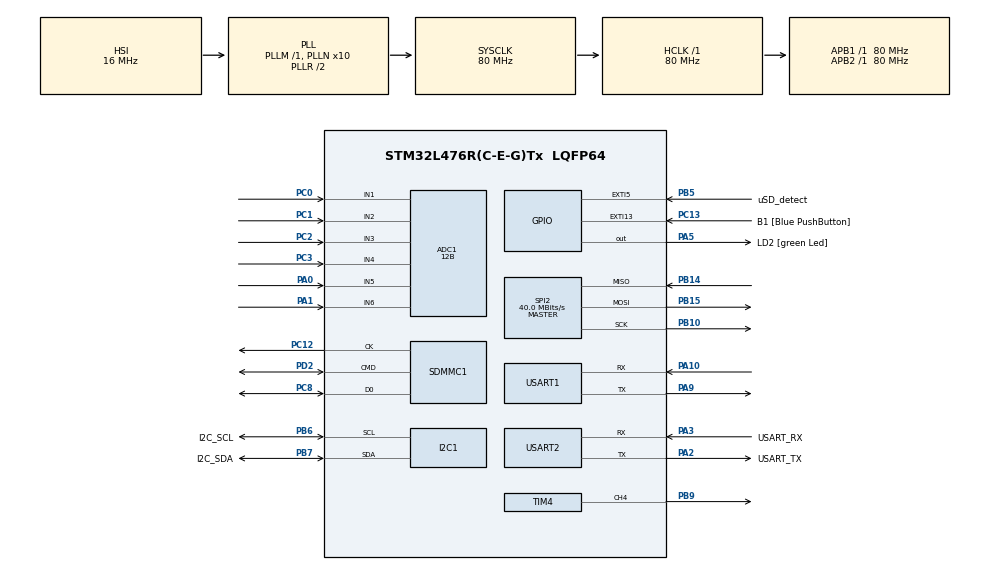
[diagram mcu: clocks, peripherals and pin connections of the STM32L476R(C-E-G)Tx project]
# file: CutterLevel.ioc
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ADC1.Channel-0\#ChannelRegularConversion=ADC_CHANNEL_VREFINT
ADC1.Channel-1\#ChannelRegularConversion=ADC_CHANNEL_1
ADC1.Channel-2\#ChannelRegularConversion=ADC_CHANNEL_2
ADC1.Channel-3\#ChannelRegularConversion=ADC_CHANNEL_3
ADC1.Channel-4\#ChannelRegularConversion=ADC_CHANNEL_4
ADC1.Channel-5\#ChannelRegularConversion=ADC_CHANNEL_5
ADC1.Channel-6\#ChannelRegularConversion=ADC_CHANNEL_6
ADC1.ClockPrescaler=ADC_CLOCK_ASYNC_DIV1
ADC1.ContinuousConvMode=DISABLE
ADC1.DMAContinuousRequests=ENABLE
ADC1.DataAlign=ADC_DATAALIGN_RIGHT
ADC1.DiscontinuousConvMode=DISABLE
ADC1.EOCSelection=ADC_EOC_SINGLE_CONV
ADC1.EnableAnalogWatchDog1=false
ADC1.EnableAnalogWatchDog2=false
ADC1.EnableAnalogWatchDog3=false
ADC1.EnableInjectedConversion=DISABLE
ADC1.EnableRegularConversion=ENABLE
ADC1.ExternalTrigConv=ADC_EXTERNALTRIG_T4_CC4
ADC1.ExternalTrigConvEdge=ADC_EXTERNALTRIGCONVEDGE_RISING
ADC1.LowPowerAutoWait=DISABLE
ADC1.NbrOfConversion=7
ADC1.NbrOfConversionFlag=1
ADC1.OffsetNumber-0\#ChannelRegularConversion=ADC_OFFSET_NONE
ADC1.OffsetNumber-1\#ChannelRegularConversion=ADC_OFFSET_NONE
ADC1.OffsetNumber-2\#ChannelRegularConversion=ADC_OFFSET_NONE
ADC1.OffsetNumber-3\#ChannelRegularConversion=ADC_OFFSET_NONE
ADC1.OffsetNumber-4\#ChannelRegularConversion=ADC_OFFSET_NONE
ADC1.OffsetNumber-5\#ChannelRegularConversion=ADC_OFFSET_NONE
ADC1.OffsetNumber-6\#ChannelRegularConversion=ADC_OFFSET_NONE
ADC1.Overrun=ADC_OVR_DATA_OVERWRITTEN
ADC1.OversamplingMode=ENABLE
ADC1.OversamplingStopReset=ADC_REGOVERSAMPLING_CONTINUED_MODE
ADC1.Rank-0\#ChannelRegularConversion=1
ADC1.Rank-1\#ChannelRegularConversion=2
ADC1.Rank-2\#ChannelRegularConversion=3
ADC1.Rank-3\#ChannelRegularConversion=4
ADC1.Rank-4\#ChannelRegularConversion=5
ADC1.Rank-5\#ChannelRegularConversion=6
ADC1.Rank-6\#ChannelRegularConversion=7
ADC1.Ratio=ADC_OVERSAMPLING_RATIO_8
ADC1.Resolution=ADC_RESOLUTION_12B
ADC1.RightBitShift=ADC_RIGHTBITSHIFT_3
ADC1.SamplingTime-0\#ChannelRegularConversion=ADC_SAMPLETIME_92CYCLES_5
ADC1.SamplingTime-1\#ChannelRegularConversion=ADC_SAMPLETIME_24CYCLES_5
ADC1.SamplingTime-2\#ChannelRegularConversion=ADC_SAMPLETIME_24CYCLES_5
ADC1.SamplingTime-3\#ChannelRegularConversion=ADC_SAMPLETIME_24CYCLES_5
ADC1.SamplingTime-4\#ChannelRegularConversion=ADC_SAMPLETIME_24CYCLES_5
ADC1.SamplingTime-5\#ChannelRegularConversion=ADC_SAMPLETIME_24CYCLES_5
ADC1.SamplingTime-6\#ChannelRegularConversion=ADC_SAMPLETIME_24CYCLES_5
ADC1.ScanConvMode=ADC_SCAN_ENABLE
ADC1.TriggeredMode=ADC_TRIGGEREDMODE_SINGLE_TRIGGER
ADC1.master=1
Dma.ADC1.4.Direction=DMA_PERIPH_TO_MEMORY
Dma.ADC1.4.Instance=DMA1_Channel1
Dma.ADC1.4.MemDataAlignment=DMA_MDATAALIGN_HALFWORD
Dma.ADC1.4.MemInc=DMA_MINC_ENABLE
Dma.ADC1.4.Mode=DMA_CIRCULAR
Dma.ADC1.4.PeriphDataAlignment=DMA_PDATAALIGN_HALFWORD
Dma.ADC1.4.PeriphInc=DMA_PINC_DISABLE
Dma.ADC1.4.Priority=DMA_PRIORITY_LOW
Dma.Request0=USART1_RX
Dma.Request1=USART1_TX
Dma.Request2=USART2_RX
Dma.Request3=USART2_TX
Dma.Request4=ADC1
Dma.USART1_RX.0.Direction=DMA_PERIPH_TO_MEMORY
Dma.USART1_RX.0.Instance=DMA2_Channel7
Dma.USART1_RX.0.MemDataAlignment=DMA_MDATAALIGN_BYTE
Dma.USART1_RX.0.MemInc=DMA_MINC_ENABLE
Dma.USART1_RX.0.Mode=DMA_NORMAL
Dma.USART1_RX.0.PeriphDataAlignment=DMA_PDATAALIGN_BYTE
Dma.USART1_RX.0.PeriphInc=DMA_PINC_DISABLE
Dma.USART1_RX.0.Priority=DMA_PRIORITY_LOW
Dma.USART1_TX.1.Direction=DMA_MEMORY_TO_PERIPH
Dma.USART1_TX.1.Instance=DMA1_Channel4
Dma.USART1_TX.1.MemDataAlignment=DMA_MDATAALIGN_BYTE
Dma.USART1_TX.1.MemInc=DMA_MINC_ENABLE
Dma.USART1_TX.1.Mode=DMA_NORMAL
Dma.USART1_TX.1.PeriphDataAlignment=DMA_PDATAALIGN_BYTE
Dma.USART1_TX.1.PeriphInc=DMA_PINC_DISABLE
Dma.USART1_TX.1.Priority=DMA_PRIORITY_LOW
Dma.USART2_RX.2.Direction=DMA_PERIPH_TO_MEMORY
Dma.USART2_RX.2.Instance=DMA1_Channel6
Dma.USART2_RX.2.MemDataAlignment=DMA_MDATAALIGN_BYTE
Dma.USART2_RX.2.MemInc=DMA_MINC_ENABLE
Dma.USART2_RX.2.Mode=DMA_NORMAL
Dma.USART2_RX.2.PeriphDataAlignment=DMA_PDATAALIGN_BYTE
Dma.USART2_RX.2.PeriphInc=DMA_PINC_DISABLE
Dma.USART2_RX.2.Priority=DMA_PRIORITY_LOW
Dma.USART2_TX.3.Direction=DMA_MEMORY_TO_PERIPH
Dma.USART2_TX.3.Instance=DMA1_Channel7
Dma.USART2_TX.3.MemDataAlignment=DMA_MDATAALIGN_BYTE
Dma.USART2_TX.3.MemInc=DMA_MINC_ENABLE
Dma.USART2_TX.3.Mode=DMA_NORMAL
Dma.USART2_TX.3.PeriphDataAlignment=DMA_PDATAALIGN_BYTE
Dma.USART2_TX.3.PeriphInc=DMA_PINC_DISABLE
Dma.USART2_TX.3.Priority=DMA_PRIORITY_LOW
FATFS.USE_DMA_CODE_SD=0
I2C1.Timing=0x10909CEC
Mcu.Family=STM32L4
Mcu.Name=STM32L476R(C-E-G)Tx
Mcu.Package=LQFP64
NVIC.ADC1_2_IRQn=true\:0\:0\:false\:false\:true\:true
NVIC.DMA1_Channel1_IRQn=true\:0\:0\:false\:false\:true\:false
NVIC.DMA1_Channel4_IRQn=true\:0\:0\:false\:false\:true\:false
NVIC.DMA1_Channel6_IRQn=true\:0\:0\:false\:false\:true\:false
NVIC.DMA1_Channel7_IRQn=true\:0\:0\:false\:false\:true\:false
NVIC.DMA2_Channel7_IRQn=true\:0\:0\:false\:false\:true\:false
NVIC.EXTI15_10_IRQn=true\:0\:0\:false\:false\:true\:true
NVIC.I2C1_EV_IRQn=true\:0\:0\:false\:false\:true\:true
NVIC.PriorityGroup=NVIC_PRIORITYGROUP_4
NVIC.SPI2_IRQn=true\:0\:0\:false\:false\:true\:true
NVIC.TIM3_IRQn=true\:0\:0\:false\:false\:true\:true
NVIC.TIM4_IRQn=true\:0\:0\:false\:false\:true\:true
NVIC.TIM5_IRQn=true\:0\:0\:false\:false\:true\:true
NVIC.USART1_IRQn=true\:0\:0\:false\:false\:true\:true
NVIC.USART2_IRQn=true\:0\:0\:false\:false\:true\:true
PA0.Signal=ADCx_IN5
PA1.Signal=ADCx_IN6
PA10.Mode=Asynchronous
PA10.Signal=USART1_RX
PA13\ (JTMS-SWDIO).GPIO_Label=TMS
PA13\ (JTMS-SWDIO).Signal=SYS_JTMS-SWDIO
PA14\ (JTCK-SWCLK).GPIO_Label=TCK
PA14\ (JTCK-SWCLK).Signal=SYS_JTCK-SWCLK
PA2.GPIO_Label=USART_TX
PA2.GPIO_Mode=GPIO_MODE_AF_PP
PA2.GPIO_PuPd=GPIO_NOPULL
PA2.GPIO_Speed=GPIO_SPEED_FREQ_VERY_HIGH
PA2.Mode=Asynchronous
PA2.Signal=USART2_TX
PA3.GPIO_Label=USART_RX
PA3.GPIO_Mode=GPIO_MODE_AF_PP
PA3.GPIO_PuPd=GPIO_NOPULL
PA3.GPIO_Speed=GPIO_SPEED_FREQ_VERY_HIGH
PA3.Mode=Asynchronous
PA3.Signal=USART2_RX
PA5.GPIO_Label=LD2 [green Led]
PA5.GPIO_ModeDefaultOutputPP=GPIO_MODE_OUTPUT_PP
PA5.GPIO_PuPd=GPIO_NOPULL
PA5.GPIO_Speed=GPIO_SPEED_FREQ_LOW
PA5.Signal=GPIO_Output
PA9.Mode=Asynchronous
PA9.Signal=USART1_TX
PB10.Mode=Full_Duplex_Master
PB10.Signal=SPI2_SCK
PB14.Mode=Full_Duplex_Master
PB14.Signal=SPI2_MISO
PB15.Mode=Full_Duplex_Master
PB15.Signal=SPI2_MOSI
PB3\ (JTDO-TRACESWO).GPIO_Label=SWO
PB3\ (JTDO-TRACESWO).Signal=SYS_JTDO-SWO
PB5.GPIO_Label=uSD_detect
PB5.GPIO_ModeDefaultEXTI=GPIO_MODE_IT_RISING_FALLING
PB5.GPIO_PuPd=GPIO_PULLUP
PB5.Signal=GPXTI5
PB6.GPIO_Label=I2C_SCL
PB6.Mode=I2C
PB6.Signal=I2C1_SCL
PB7.GPIO_Label=I2C_SDA
PB7.Mode=I2C
PB7.Signal=I2C1_SDA
PB9.Signal=S_TIM4_CH4
PC0.Signal=ADCx_IN1
PC1.Signal=ADCx_IN2
PC12.Mode=SD_1_bit
PC12.Signal=SDMMC1_CK
PC13.GPIO_Label=B1 [Blue PushButton]
PC13.GPIO_ModeDefaultEXTI=GPIO_MODE_IT_FALLING
PC13.GPIO_PuPd=GPIO_NOPULL
PC13.Signal=GPXTI13
PC14-OSC32_IN\ (PC14).Signal=RCC_OSC32_IN
PC15-OSC32_OUT\ (PC15).Signal=RCC_OSC32_OUT
PC2.Signal=ADCx_IN3
PC3.Signal=ADCx_IN4
PC8.GPIO_PuPd=GPIO_PULLUP
PC8.Mode=SD_1_bit
PC8.Signal=SDMMC1_D0
PD2.GPIO_PuPd=GPIO_PULLUP
PD2.Mode=SD_1_bit
PD2.Signal=SDMMC1_CMD
PH0-OSC_IN\ (PH0).Signal=RCC_OSC_IN
PH1-OSC_OUT\ (PH1).Signal=RCC_OSC_OUT
ProjectManager.HeapSize=0x200
ProjectManager.StackSize=0x400
ProjectManager.TargetToolchain=SW4STM32
RCC.ADCFreq_Value=80000000
RCC.AHBFreq_Value=80000000
RCC.APB1Freq_Value=80000000
RCC.APB1TimFreq_Value=80000000
RCC.APB2Freq_Value=80000000
RCC.APB2TimFreq_Value=80000000
RCC.CortexFreq_Value=80000000
RCC.HCLKFreq_Value=80000000
RCC.HSE_VALUE=8000000
RCC.HSI_VALUE=16000000
RCC.LSE_VALUE=32768
RCC.MSI_VALUE=4000000
RCC.PLLN=10
RCC.PLLSAI1N=10
RCC.PLLSAI1Q=RCC_PLLQ_DIV8
RCC.PLLSourceVirtual=RCC_PLLSOURCE_HSI
RCC.PREFETCH_ENABLE=1
RCC.SYSCLKFreq_VALUE=80000000
RCC.SYSCLKSource=RCC_SYSCLKSOURCE_PLLCLK
RCC.USBFreq_Value=20000000
RCC.VCOOutputFreq_Value=160000000
SH.ADCx_IN1.0=ADC1_IN1,IN1-Single-Ended
SH.ADCx_IN2.0=ADC1_IN2,IN2-Single-Ended
SH.ADCx_IN3.0=ADC1_IN3,IN3-Single-Ended
SH.ADCx_IN4.0=ADC1_IN4,IN4-Single-Ended
SH.ADCx_IN5.0=ADC1_IN5,IN5-Single-Ended
SH.ADCx_IN6.0=ADC1_IN6,IN6-Single-Ended
SH.S_TIM4_CH4.0=TIM4_CH4,Output Compare4 CH4
SPI2.CalculateBaudRate=40.0 MBits/s
SPI2.DataSize=SPI_DATASIZE_16BIT
SPI2.Direction=SPI_DIRECTION_2LINES
SPI2.Mode=SPI_MODE_MASTER
SPI2.VirtualType=VM_MASTER
TIM3.Channel-Output\ Compare1\ No\ Output=TIM_CHANNEL_1
TIM3.Period=49999
TIM3.Prescaler=15
TIM4.Channel-Output\ Compare4\ CH4=TIM_CHANNEL_4
TIM4.OCMode_4=TIM_OCMODE_TOGGLE
TIM4.Period=39999
TIM4.Prescaler=3
TIM5.Channel-Output\ Compare1\ No\ Output=TIM_CHANNEL_1
TIM5.Period=3999
TIM5.Prescaler=1
USART1.VirtualMode-Asynchronous=VM_ASYNC
USART1.WordLength=WORDLENGTH_8B
USART2.VirtualMode-Asynchronous=VM_ASYNC
USART2.WordLength=WORDLENGTH_8B
VP_ADC1_Vref_Input.Mode=IN-Vrefint
VP_FATFS_VS_SDIO.Mode=SDIO
VP_TIM3_VS_ClockSourceINT.Mode=Internal
VP_TIM3_VS_no_output1.Mode=Output Compare1 No Output
VP_TIM4_VS_ClockSourceINT.Mode=Internal
VP_TIM5_VS_ClockSourceINT.Mode=Internal
VP_TIM5_VS_no_output1.Mode=Output Compare1 No Output
board=NUCLEO-L476RG

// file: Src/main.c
/**
  ******************************************************************************
  * File Name          : main.c
  * Description        : Main program body
  ******************************************************************************
  * This notice applies to any and all portions of this file
  * that are not between comment pairs USER CODE BEGIN and
  * USER CODE END. Other portions of this file, whether
  * inserted by the user or by software development tools
  * are owned by their respective copyright owners.
  *
  * Copyright (c) 2017 STMicroelectronics International N.V.
  * All rights reserved.
  *
  * Redistribution and use in source and binary forms, with or without
  * modification, are permitted, provided that the following conditions are met:
  *
  * 1. Redistribution of source code must retain the above copyright notice,
  *    this list of conditions and the following disclaimer.
  * 2. Redistributions in binary form must reproduce the above copyright notice,
  *    this list of conditions and the following disclaimer in the documentation
  *    and/or other materials provided with the distribution.
  * 3. Neither the name of STMicroelectronics nor the names of other
  *    contributors to this software may be used to endorse or promote products
  *    derived from this software without specific written permission.
  * 4. This software, including modifications and/or derivative works of this
  *    software, must execute solely and exclusively on microcontroller or
  *    microprocessor devices manufactured by or for STMicroelectronics.
  * 5. Redistribution and use of this software other than as permitted under
  *    this license is void and will automatically terminate your rights under
  *    this license.
  *
  * THIS SOFTWARE IS PROVIDED BY STMICROELECTRONICS AND CONTRIBUTORS "AS IS"
  * AND ANY EXPRESS, IMPLIED OR STATUTORY WARRANTIES, INCLUDING, BUT NOT
  * LIMITED TO, THE IMPLIED WARRANTIES OF MERCHANTABILITY, FITNESS FOR A
  * PARTICULAR PURPOSE AND NON-INFRINGEMENT OF THIRD PARTY INTELLECTUAL PROPERTY
  * RIGHTS ARE DISCLAIMED TO THE FULLEST EXTENT PERMITTED BY LAW. IN NO EVENT
  * SHALL STMICROELECTRONICS OR CONTRIBUTORS BE LIABLE FOR ANY DIRECT, INDIRECT,
  * INCIDENTAL, SPECIAL, EXEMPLARY, OR CONSEQUENTIAL DAMAGES (INCLUDING, BUT NOT
  * LIMITED TO, PROCUREMENT OF SUBSTITUTE GOODS OR SERVICES; LOSS OF USE, DATA,
  * OR PROFITS; OR BUSINESS INTERRUPTION) HOWEVER CAUSED AND ON ANY THEORY OF
  * LIABILITY, WHETHER IN CONTRACT, STRICT LIABILITY, OR TORT (INCLUDING
  * NEGLIGENCE OR OTHERWISE) ARISING IN ANY WAY OUT OF THE USE OF THIS SOFTWARE,
  * EVEN IF ADVISED OF THE POSSIBILITY OF SUCH DAMAGE.
  *
  ******************************************************************************
  */
#include "main.h"
#include "stm32l4xx_hal.h"
#include "fatfs.h"

/* USER CODE BEGIN Includes */
#include "string.h"
#include "stdio.h"
#include "stm32l4xx_nucleo.h"
#include "hd44780.h"
/* USER CODE END Includes */

ADC_HandleTypeDef hadc1;
DMA_HandleTypeDef hdma_adc1;

I2C_HandleTypeDef hi2c1;

SD_HandleTypeDef hsd1;

SPI_HandleTypeDef hspi2;

TIM_HandleTypeDef htim3;
TIM_HandleTypeDef htim4;
TIM_HandleTypeDef htim5;

UART_HandleTypeDef huart1;
UART_HandleTypeDef huart2;
DMA_HandleTypeDef hdma_usart1_rx;
DMA_HandleTypeDef hdma_usart1_tx;
DMA_HandleTypeDef hdma_usart2_rx;
DMA_HandleTypeDef hdma_usart2_tx;

/* USER CODE BEGIN PV */
/* Private variables ---------------------------------------------------------*/
typedef enum {
	SAMPLING_OFF,
	SAMPLING_ON
}SAMPLING_STATE;

#define TXBUFFERSIZE		128
#define RXBUFFERSIZE        128

#define COUNTOF(__BUFFER__)   (sizeof(__BUFFER__) / sizeof(*(__BUFFER__)))

/*
 * I2C LCD display parameters
 */
#define 		LCD1_I2C_ADDRESS		0x3F

/*
 * UART 2 Settings
 */
#define 		TXBUFFERSIZE			128
#define 		RXBUFFERSIZE        	128
__IO ITStatus UartReady = RESET;
uint8_t 		aTxBuffer[TXBUFFERSIZE]; /* Buffer used for transmission */
uint8_t 		aRxBuffer[RXBUFFERSIZE]; /* Buffer used for reception */

/*
 * SD settings
 */
uint32_t 		stored;
uint8_t 		filename[20];
uint8_t 		write_buffer[200];
uint8_t 		read_buffer[200];
FRESULT 		res;	/* FatFs function common result code */
uint32_t 		byteswritten, bytesread;
uint8_t 		uSD_Inserted = 0;
/*
 *  ADC parameters
 */
#define 		VDD_APPLI				((uint32_t) 3300)    		/* Value of analog voltage supply Vdda (unit: mV) */
#define 		RANGE_12BITS			((uint32_t) 4095)    		/* Max value with a full range of 12 bits */
#define 		ADCCONVERTEDVALUES_BUFFER_SIZE ((uint32_t)    7)  	/* Size of array containing ADC converted values: set to ADC sequencer number of ranks converted, to have a rank in each address */

/* Variable containing ADC conversions results */
__IO uint16_t   aADCxConvertedValues[ADCCONVERTEDVALUES_BUFFER_SIZE];
uint16_t   		uhADCChannelToDAC_mVolt = 0;
uint16_t   		uhVrefInt_mVolt = 0;
uint8_t 		ADC_result;
__IO uint16_t 	uhADCxConvertedData = 0;

#define 		COMPUTATION_DIGITAL_12BITS_TO_VOLTAGE(ADC_DATA)    \
						( ((ADC_DATA) * VDD_APPLI) / RANGE_12BITS)

/* I2C display */
#define 		LCD1_I2C_ADDRESS		0x3F
LCD_PCF8574_HandleTypeDef	lcd;
#define 		LCD_CLEAR_DISPLAY 				1

/*
 * Misc variables
 */
/* counter for pushbutton function increment*/
uint8_t 		PB_counter = 0;

/* USER CODE END PV */

void SystemClock_Config(void);
static void MX_GPIO_Init(void);
static void MX_DMA_Init(void);
static void MX_ADC1_Init(void);
static void MX_I2C1_Init(void);
static void MX_SDMMC1_SD_Init(void);
static void MX_TIM3_Init(void);
static void MX_TIM4_Init(void);
static void MX_USART1_UART_Init(void);
static void MX_USART2_UART_Init(void);
static void MX_SPI2_Init(void);
static void MX_TIM5_Init(void);

void HAL_TIM_MspPostInit(TIM_HandleTypeDef *htim);

/* USER CODE BEGIN PFP */
/* Private function prototypes -----------------------------------------------*/
void callBack(DMA_HandleTypeDef * hdma);
void do_ADC_conversion(void);
int size(char *ptr);
void AlternateAdcStart(void);
void initLCD(void);
void errorHandleLCD(LCD_RESULT result);
void errorHandleI2C(PCF8574_RESULT result);
void writeTestLCD(void);
int fputc(int ch, FILE *f);
HAL_StatusTypeDef SendData(void);
void writeLCDmessage(char* message, uint8_t clear);
void adcSampling(SAMPLING_STATE sampling);

FRESULT User_SD_Init(void);
FRESULT User_SD_File_Read(char* filename, uint8_t* read_buffer);
FRESULT User_SD_File_Write(char* filename, uint8_t* write_buffer);
void errorHandleFRESULT(void);

void HAL_TIM_PeriodElapsedCallback(TIM_HandleTypeDef *htim);
void HAL_ADC_ConvCpltCallback(ADC_HandleTypeDef* hadc);
void HAL_ADC_ErrorCallback(ADC_HandleTypeDef *hadc);
/* USER CODE END PFP */

int main(void)
{

  /* MCU Configuration----------------------------------------------------------*/

  /* Reset of all peripherals, Initializes the Flash interface and the Systick. */
  HAL_Init();

  /* Configure the system clock */
  SystemClock_Config();

  /* Initialize all configured peripherals */
  MX_GPIO_Init();
  MX_DMA_Init();
  MX_ADC1_Init();
  MX_I2C1_Init();
  MX_SDMMC1_SD_Init();
  MX_TIM3_Init();
  MX_TIM4_Init();
  MX_USART1_UART_Init();
  MX_USART2_UART_Init();
  MX_FATFS_Init();
  MX_SPI2_Init();
  MX_TIM5_Init();

  /* USER CODE BEGIN 2 */
	uint8_t len;
	HAL_StatusTypeDef HAL_Result;

/*
 * UART Message
 */
	memset(aTxBuffer, '\0',TXBUFFERSIZE-1);
	len = sprintf((char*)aTxBuffer,"%s","UART READY\n");
	HAL_Result = HAL_UART_Transmit(&huart2, aTxBuffer, len, 200);
	switch (HAL_Result) {
		case HAL_OK:
			break;
		case HAL_ERROR:
			_Error_Handler("UART Transmit Error", __LINE__);
			break;
		default:
			break;
	}

	/*
	* LCD start and test
	*/
	initLCD();
	LCD_ClearDisplay(&lcd);

/*
 * Setup SD
 */

#define USE_SD

#if  defined  (USE_SD)

	HAL_SD_MspInit(&hsd1);
	hsd1.State = HAL_SD_STATE_RESET; // force HAL_SD_MspInit(&hsd1) to be called
	uint8_t MSD_Result = BSP_SD_Init(); //calls HAL_SD_MspInit(&hsd1); and Hal_SD_Init();
	//change to enable the SD function (or not)
	switch (MSD_Result) {
		case MSD_OK:
			break;
		case MSD_ERROR:
			writeLCDmessage("MSD_ERROR", LCD_CLEAR_DISPLAY);
			_Error_Handler("MSD_ERROR", __LINE__);
			break;
		case MSD_ERROR_SD_NOT_PRESENT:
			writeLCDmessage("SD_NOT_PRESENT", LCD_CLEAR_DISPLAY);
			_Error_Handler("MSD_ERROR_SD_NOT_PRESENT", __LINE__);
			break;
		default:
			break;
	}

	len = sprintf((char*)aTxBuffer,"%s","Stuff for the card\n"); //SD_WRITE uses size to find /0 to get length to send

	if( User_SD_Init() !=  FR_OK ) _Error_Handler("SD Initialization Error", __LINE__);
	res = User_SD_File_Write("job.txt", aTxBuffer);
	errorHandleFRESULT();

#endif

	memset(aTxBuffer, '\0',TXBUFFERSIZE-1);
	len = sprintf((char*)aTxBuffer,"%s","****The SD card was initialized successfully****\n");
	HAL_UART_Transmit(&huart2, (uint8_t*)aTxBuffer, len, 200);

	memset(aTxBuffer, '\0',TXBUFFERSIZE-1);
	len = sprintf((char*)aTxBuffer,"%s","****Project Init Success, entering endless loop ...****\n");
	HAL_UART_Transmit(&huart2, (uint8_t*)aTxBuffer, len, 200);

	len = sprintf((char*)aTxBuffer,"%s","****Project Init Success, SNED by DMA ...****\n");
	HAL_UART_Transmit_DMA(&huart2, (uint8_t*)aTxBuffer, len);
	//HAL_UART_Receive_IT(&huart2, (uint8_t *)aRxBuffer, RXBUFFERSIZE);
	HAL_UART_Receive_DMA(&huart2, (uint8_t *)aRxBuffer, RXBUFFERSIZE);
	//if(HAL_UART_Receive_DMA(&UartHandle, (uint8_t *)aRxBuffer, RXBUFFERSIZE) != HAL_OK)

	/*this needs work*/
	//printf("\n\r UART Printf Example: retarget the C library printf function to the UART\n\r");

	/*
	* Start periphals
	*/
	/** TIM for base timer, timer for internal trigger */
	HAL_TIM_Base_Start_IT(&htim4);

	/**TIM for Output Compare, PinToggle */
	HAL_TIM_OC_Start_IT(&htim4, TIM_CHANNEL_4);

	/** TIM for base timer, timer for internal trigger */
	HAL_TIM_Base_Start_IT(&htim3);

	/**TIM for Output Compare, PinToggle */
	HAL_TIM_OC_Start_IT(&htim3, TIM_CHANNEL_1);

	/* Run the ADC calibration in single-ended mode */
	if (HAL_ADCEx_Calibration_Start(&hadc1, ADC_SINGLE_ENDED) != HAL_OK)
		_Error_Handler("ADC Calibration Start error", __LINE__);

	adcSampling(SAMPLING_OFF);

	//HAL_ADC_Start_IT(&hadc1);

  /* USER CODE END 2 */

  /* Infinite loop */
  while (1)
  {

  }

}

/** System Clock Configuration
*/
void SystemClock_Config(void)
{

  RCC_OscInitTypeDef RCC_OscInitStruct;
  RCC_ClkInitTypeDef RCC_ClkInitStruct;
  RCC_PeriphCLKInitTypeDef PeriphClkInit;

    /**Initializes the CPU, AHB and APB busses clocks
    */
  RCC_OscInitStruct.OscillatorType = RCC_OSCILLATORTYPE_HSI;
  RCC_OscInitStruct.HSIState = RCC_HSI_ON;
  RCC_OscInitStruct.HSICalibrationValue = 16;
  RCC_OscInitStruct.PLL.PLLState = RCC_PLL_ON;
  RCC_OscInitStruct.PLL.PLLSource = RCC_PLLSOURCE_HSI;
  RCC_OscInitStruct.PLL.PLLN = 10;
  RCC_OscInitStruct.PLL.PLLM = 1;
  RCC_OscInitStruct.PLL.PLLP = RCC_PLLP_DIV7;
  RCC_OscInitStruct.PLL.PLLQ = RCC_PLLQ_DIV2;
  RCC_OscInitStruct.PLL.PLLR = RCC_PLLR_DIV2;
  if (HAL_RCC_OscConfig(&RCC_OscInitStruct) != HAL_OK)
  {
    _Error_Handler(__FILE__, __LINE__);
  }

    /**Initializes the CPU, AHB and APB busses clocks
    */
  RCC_ClkInitStruct.ClockType = RCC_CLOCKTYPE_HCLK|RCC_CLOCKTYPE_SYSCLK
                              |RCC_CLOCKTYPE_PCLK1|RCC_CLOCKTYPE_PCLK2;
  RCC_ClkInitStruct.SYSCLKSource = RCC_SYSCLKSOURCE_PLLCLK;
  RCC_ClkInitStruct.AHBCLKDivider = RCC_SYSCLK_DIV1;
  RCC_ClkInitStruct.APB1CLKDivider = RCC_HCLK_DIV1;
  RCC_ClkInitStruct.APB2CLKDivider = RCC_HCLK_DIV1;

  if (HAL_RCC_ClockConfig(&RCC_ClkInitStruct, FLASH_LATENCY_3) != HAL_OK)
  {
    _Error_Handler(__FILE__, __LINE__);
  }

  PeriphClkInit.PeriphClockSelection = RCC_PERIPHCLK_USART1|RCC_PERIPHCLK_USART2
                              |RCC_PERIPHCLK_I2C1|RCC_PERIPHCLK_SDMMC1
                              |RCC_PERIPHCLK_ADC;
  PeriphClkInit.Usart1ClockSelection = RCC_USART1CLKSOURCE_PCLK2;
  PeriphClkInit.Usart2ClockSelection = RCC_USART2CLKSOURCE_PCLK1;
  PeriphClkInit.I2c1ClockSelection = RCC_I2C1CLKSOURCE_PCLK1;
  PeriphClkInit.AdcClockSelection = RCC_ADCCLKSOURCE_PLLSAI1;
  PeriphClkInit.Sdmmc1ClockSelection = RCC_SDMMC1CLKSOURCE_PLLSAI1;
  PeriphClkInit.PLLSAI1.PLLSAI1Source = RCC_PLLSOURCE_HSI;
  PeriphClkInit.PLLSAI1.PLLSAI1M = 1;
  PeriphClkInit.PLLSAI1.PLLSAI1N = 10;
  PeriphClkInit.PLLSAI1.PLLSAI1P = RCC_PLLP_DIV7;
  PeriphClkInit.PLLSAI1.PLLSAI1Q = RCC_PLLQ_DIV8;
  PeriphClkInit.PLLSAI1.PLLSAI1R = RCC_PLLR_DIV2;
  PeriphClkInit.PLLSAI1.PLLSAI1ClockOut = RCC_PLLSAI1_48M2CLK|RCC_PLLSAI1_ADC1CLK;
  if (HAL_RCCEx_PeriphCLKConfig(&PeriphClkInit) != HAL_OK)
  {
    _Error_Handler(__FILE__, __LINE__);
  }

    /**Configure the main internal regulator output voltage
    */
  if (HAL_PWREx_ControlVoltageScaling(PWR_REGULATOR_VOLTAGE_SCALE1) != HAL_OK)
  {
    _Error_Handler(__FILE__, __LINE__);
  }

    /**Configure the Systick interrupt time
    */
  HAL_SYSTICK_Config(HAL_RCC_GetHCLKFreq()/1000);

    /**Configure the Systick
    */
  HAL_SYSTICK_CLKSourceConfig(SYSTICK_CLKSOURCE_HCLK);

  /* SysTick_IRQn interrupt configuration */
  HAL_NVIC_SetPriority(SysTick_IRQn, 0, 0);
}

/* ADC1 init function */
static void MX_ADC1_Init(void)
{

  ADC_MultiModeTypeDef multimode;
  ADC_ChannelConfTypeDef sConfig;

    /**Common config
    */
  hadc1.Instance = ADC1;
  hadc1.Init.ClockPrescaler = ADC_CLOCK_ASYNC_DIV1;
  hadc1.Init.Resolution = ADC_RESOLUTION_12B;
  hadc1.Init.DataAlign = ADC_DATAALIGN_RIGHT;
  hadc1.Init.ScanConvMode = ADC_SCAN_ENABLE;
  hadc1.Init.EOCSelection = ADC_EOC_SINGLE_CONV;
  hadc1.Init.LowPowerAutoWait = DISABLE;
  hadc1.Init.ContinuousConvMode = DISABLE;
  hadc1.Init.NbrOfConversion = 7;
  hadc1.Init.DiscontinuousConvMode = DISABLE;
  hadc1.Init.NbrOfDiscConversion = 1;
  hadc1.Init.ExternalTrigConv = ADC_EXTERNALTRIG_T4_CC4;
  hadc1.Init.ExternalTrigConvEdge = ADC_EXTERNALTRIGCONVEDGE_RISING;
  hadc1.Init.DMAContinuousRequests = ENABLE;
  hadc1.Init.Overrun = ADC_OVR_DATA_OVERWRITTEN;
  hadc1.Init.OversamplingMode = ENABLE;
  hadc1.Init.Oversampling.Ratio = ADC_OVERSAMPLING_RATIO_8;
  hadc1.Init.Oversampling.RightBitShift = ADC_RIGHTBITSHIFT_3;
  hadc1.Init.Oversampling.TriggeredMode = ADC_TRIGGEREDMODE_SINGLE_TRIGGER;
  hadc1.Init.Oversampling.OversamplingStopReset = ADC_REGOVERSAMPLING_CONTINUED_MODE;
  if (HAL_ADC_Init(&hadc1) != HAL_OK)
  {
    _Error_Handler(__FILE__, __LINE__);
  }

    /**Configure the ADC multi-mode
    */
  multimode.Mode = ADC_MODE_INDEPENDENT;
  if (HAL_ADCEx_MultiModeConfigChannel(&hadc1, &multimode) != HAL_OK)
  {
    _Error_Handler(__FILE__, __LINE__);
  }

    /**Configure Regular Channel
    */
  sConfig.Channel = ADC_CHANNEL_VREFINT;
  sConfig.Rank = 1;
  sConfig.SamplingTime = ADC_SAMPLETIME_92CYCLES_5;
  sConfig.SingleDiff = ADC_SINGLE_ENDED;
  sConfig.OffsetNumber = ADC_OFFSET_NONE;
  sConfig.Offset = 0;
  if (HAL_ADC_ConfigChannel(&hadc1, &sConfig) != HAL_OK)
  {
    _Error_Handler(__FILE__, __LINE__);
  }

    /**Configure Regular Channel
    */
  sConfig.Channel = ADC_CHANNEL_1;
  sConfig.Rank = 2;
  sConfig.SamplingTime = ADC_SAMPLETIME_24CYCLES_5;
  if (HAL_ADC_ConfigChannel(&hadc1, &sConfig) != HAL_OK)
  {
    _Error_Handler(__FILE__, __LINE__);
  }

    /**Configure Regular Channel
    */
  sConfig.Channel = ADC_CHANNEL_2;
  sConfig.Rank = 3;
  if (HAL_ADC_ConfigChannel(&hadc1, &sConfig) != HAL_OK)
  {
    _Error_Handler(__FILE__, __LINE__);
  }

    /**Configure Regular Channel
    */
  sConfig.Channel = ADC_CHANNEL_3;
  sConfig.Rank = 4;
  if (HAL_ADC_ConfigChannel(&hadc1, &sConfig) != HAL_OK)
  {
    _Error_Handler(__FILE__, __LINE__);
  }

    /**Configure Regular Channel
    */
  sConfig.Channel = ADC_CHANNEL_4;
  sConfig.Rank = 5;
  if (HAL_ADC_ConfigChannel(&hadc1, &sConfig) != HAL_OK)
  {
    _Error_Handler(__FILE__, __LINE__);
  }

    /**Configure Regular Channel
    */
  sConfig.Channel = ADC_CHANNEL_5;
  sConfig.Rank = 6;
  if (HAL_ADC_ConfigChannel(&hadc1, &sConfig) != HAL_OK)
  {
    _Error_Handler(__FILE__, __LINE__);
  }

    /**Configure Regular Channel
    */
  sConfig.Channel = ADC_CHANNEL_6;
  sConfig.Rank = 7;
  if (HAL_ADC_ConfigChannel(&hadc1, &sConfig) != HAL_OK)
  {
    _Error_Handler(__FILE__, __LINE__);
  }

}

/* I2C1 init function */
static void MX_I2C1_Init(void)
{

  hi2c1.Instance = I2C1;
  hi2c1.Init.Timing = 0x10909CEC;
  hi2c1.Init.OwnAddress1 = 0;
  hi2c1.Init.AddressingMode = I2C_ADDRESSINGMODE_7BIT;
  hi2c1.Init.DualAddressMode = I2C_DUALADDRESS_DISABLE;
  hi2c1.Init.OwnAddress2 = 0;
  hi2c1.Init.OwnAddress2Masks = I2C_OA2_NOMASK;
  hi2c1.Init.GeneralCallMode = I2C_GENERALCALL_DISABLE;
  hi2c1.Init.NoStretchMode = I2C_NOSTRETCH_DISABLE;
  if (HAL_I2C_Init(&hi2c1) != HAL_OK)
  {
    _Error_Handler(__FILE__, __LINE__);
  }

    /**Configure Analogue filter
    */
  if (HAL_I2CEx_ConfigAnalogFilter(&hi2c1, I2C_ANALOGFILTER_ENABLE) != HAL_OK)
  {
    _Error_Handler(__FILE__, __LINE__);
  }

    /**Configure Digital filter
    */
  if (HAL_I2CEx_ConfigDigitalFilter(&hi2c1, 0) != HAL_OK)
  {
    _Error_Handler(__FILE__, __LINE__);
  }

}

/* SDMMC1 init function */
static void MX_SDMMC1_SD_Init(void)
{

  hsd1.Instance = SDMMC1;
  hsd1.Init.ClockEdge = SDMMC_CLOCK_EDGE_RISING;
  hsd1.Init.ClockBypass = SDMMC_CLOCK_BYPASS_DISABLE;
  hsd1.Init.ClockPowerSave = SDMMC_CLOCK_POWER_SAVE_DISABLE;
  hsd1.Init.BusWide = SDMMC_BUS_WIDE_1B;
  hsd1.Init.HardwareFlowControl = SDMMC_HARDWARE_FLOW_CONTROL_DISABLE;
  hsd1.Init.ClockDiv = 0;

}

/* SPI2 init function */
static void MX_SPI2_Init(void)
{

  /* SPI2 parameter configuration*/
  hspi2.Instance = SPI2;
  hspi2.Init.Mode = SPI_MODE_MASTER;
  hspi2.Init.Direction = SPI_DIRECTION_2LINES;
  hspi2.Init.DataSize = SPI_DATASIZE_16BIT;
  hspi2.Init.CLKPolarity = SPI_POLARITY_LOW;
  hspi2.Init.CLKPhase = SPI_PHASE_1EDGE;
  hspi2.Init.NSS = SPI_NSS_SOFT;
  hspi2.Init.BaudRatePrescaler = SPI_BAUDRATEPRESCALER_2;
  hspi2.Init.FirstBit = SPI_FIRSTBIT_MSB;
  hspi2.Init.TIMode = SPI_TIMODE_DISABLE;
  hspi2.Init.CRCCalculation = SPI_CRCCALCULATION_DISABLE;
  hspi2.Init.CRCPolynomial = 7;
  hspi2.Init.CRCLength = SPI_CRC_LENGTH_DATASIZE;
  hspi2.Init.NSSPMode = SPI_NSS_PULSE_ENABLE;
  if (HAL_SPI_Init(&hspi2) != HAL_OK)
  {
    _Error_Handler(__FILE__, __LINE__);
  }

}

/* TIM3 init function */
static void MX_TIM3_Init(void)
{

  TIM_ClockConfigTypeDef sClockSourceConfig;
  TIM_MasterConfigTypeDef sMasterConfig;
  TIM_OC_InitTypeDef sConfigOC;

  htim3.Instance = TIM3;
  htim3.Init.Prescaler = 15;
  htim3.Init.CounterMode = TIM_COUNTERMODE_UP;
  htim3.Init.Period = 49999;
  htim3.Init.ClockDivision = TIM_CLOCKDIVISION_DIV1;
  htim3.Init.AutoReloadPreload = TIM_AUTORELOAD_PRELOAD_DISABLE;
  if (HAL_TIM_Base_Init(&htim3) != HAL_OK)
  {
    _Error_Handler(__FILE__, __LINE__);
  }

  sClockSourceConfig.ClockSource = TIM_CLOCKSOURCE_INTERNAL;
  if (HAL_TIM_ConfigClockSource(&htim3, &sClockSourceConfig) != HAL_OK)
  {
    _Error_Handler(__FILE__, __LINE__);
  }

  if (HAL_TIM_OC_Init(&htim3) != HAL_OK)
  {
    _Error_Handler(__FILE__, __LINE__);
  }

  sMasterConfig.MasterOutputTrigger = TIM_TRGO_RESET;
  sMasterConfig.MasterSlaveMode = TIM_MASTERSLAVEMODE_DISABLE;
  if (HAL_TIMEx_MasterConfigSynchronization(&htim3, &sMasterConfig) != HAL_OK)
  {
    _Error_Handler(__FILE__, __LINE__);
  }

  sConfigOC.OCMode = TIM_OCMODE_TIMING;
  sConfigOC.Pulse = 0;
  sConfigOC.OCPolarity = TIM_OCPOLARITY_HIGH;
  sConfigOC.OCFastMode = TIM_OCFAST_DISABLE;
  if (HAL_TIM_OC_ConfigChannel(&htim3, &sConfigOC, TIM_CHANNEL_1) != HAL_OK)
  {
    _Error_Handler(__FILE__, __LINE__);
  }

}

/* TIM4 init function */
static void MX_TIM4_Init(void)
{

  TIM_ClockConfigTypeDef sClockSourceConfig;
  TIM_MasterConfigTypeDef sMasterConfig;
  TIM_OC_InitTypeDef sConfigOC;

  htim4.Instance = TIM4;
  htim4.Init.Prescaler = 3;
  htim4.Init.CounterMode = TIM_COUNTERMODE_UP;
  htim4.Init.Period = 39999;
  htim4.Init.ClockDivision = TIM_CLOCKDIVISION_DIV1;
  htim4.Init.AutoReloadPreload = TIM_AUTORELOAD_PRELOAD_DISABLE;
  if (HAL_TIM_Base_Init(&htim4) != HAL_OK)
  {
    _Error_Handler(__FILE__, __LINE__);
  }

  sClockSourceConfig.ClockSource = TIM_CLOCKSOURCE_INTERNAL;
  if (HAL_TIM_ConfigClockSource(&htim4, &sClockSourceConfig) != HAL_OK)
  {
    _Error_Handler(__FILE__, __LINE__);
  }

  if (HAL_TIM_OC_Init(&htim4) != HAL_OK)
  {
    _Error_Handler(__FILE__, __LINE__);
  }

  sMasterConfig.MasterOutputTrigger = TIM_TRGO_RESET;
  sMasterConfig.MasterSlaveMode = TIM_MASTERSLAVEMODE_DISABLE;
  if (HAL_TIMEx_MasterConfigSynchronization(&htim4, &sMasterConfig) != HAL_OK)
  {
    _Error_Handler(__FILE__, __LINE__);
  }

  sConfigOC.OCMode = TIM_OCMODE_TOGGLE;
  sConfigOC.Pulse = 0;
  sConfigOC.OCPolarity = TIM_OCPOLARITY_HIGH;
  sConfigOC.OCFastMode = TIM_OCFAST_DISABLE;
  if (HAL_TIM_OC_ConfigChannel(&htim4, &sConfigOC, TIM_CHANNEL_4) != HAL_OK)
  {
    _Error_Handler(__FILE__, __LINE__);
  }

  HAL_TIM_MspPostInit(&htim4);

}

/* TIM5 init function */
static void MX_TIM5_Init(void)
{

  TIM_ClockConfigTypeDef sClockSourceConfig;
  TIM_MasterConfigTypeDef sMasterConfig;
  TIM_OC_InitTypeDef sConfigOC;

  htim5.Instance = TIM5;
  htim5.Init.Prescaler = 1;
  htim5.Init.CounterMode = TIM_COUNTERMODE_UP;
  htim5.Init.Period = 3999;
  htim5.Init.ClockDivision = TIM_CLOCKDIVISION_DIV1;
  htim5.Init.AutoReloadPreload = TIM_AUTORELOAD_PRELOAD_DISABLE;
  if (HAL_TIM_Base_Init(&htim5) != HAL_OK)
  {
    _Error_Handler(__FILE__, __LINE__);
  }

  sClockSourceConfig.ClockSource = TIM_CLOCKSOURCE_INTERNAL;
  if (HAL_TIM_ConfigClockSource(&htim5, &sClockSourceConfig) != HAL_OK)
  {
    _Error_Handler(__FILE__, __LINE__);
  }

  if (HAL_TIM_OC_Init(&htim5) != HAL_OK)
  {
    _Error_Handler(__FILE__, __LINE__);
  }

  sMasterConfig.MasterOutputTrigger = TIM_TRGO_RESET;
  sMasterConfig.MasterSlaveMode = TIM_MASTERSLAVEMODE_DISABLE;
  if (HAL_TIMEx_MasterConfigSynchronization(&htim5, &sMasterConfig) != HAL_OK)
  {
    _Error_Handler(__FILE__, __LINE__);
  }

  sConfigOC.OCMode = TIM_OCMODE_TIMING;
  sConfigOC.Pulse = 0;
  sConfigOC.OCPolarity = TIM_OCPOLARITY_HIGH;
  sConfigOC.OCFastMode = TIM_OCFAST_DISABLE;
  if (HAL_TIM_OC_ConfigChannel(&htim5, &sConfigOC, TIM_CHANNEL_1) != HAL_OK)
  {
    _Error_Handler(__FILE__, __LINE__);
  }

}

/* USART1 init function */
static void MX_USART1_UART_Init(void)
{

  huart1.Instance = USART1;
  huart1.Init.BaudRate = 115200;
  huart1.Init.WordLength = UART_WORDLENGTH_8B;
  huart1.Init.StopBits = UART_STOPBITS_1;
  huart1.Init.Parity = UART_PARITY_NONE;
  huart1.Init.Mode = UART_MODE_TX_RX;
  huart1.Init.HwFlowCtl = UART_HWCONTROL_NONE;
  huart1.Init.OverSampling = UART_OVERSAMPLING_16;
  huart1.Init.OneBitSampling = UART_ONE_BIT_SAMPLE_DISABLE;
  huart1.AdvancedInit.AdvFeatureInit = UART_ADVFEATURE_NO_INIT;
  if (HAL_UART_Init(&huart1) != HAL_OK)
  {
    _Error_Handler(__FILE__, __LINE__);
  }

}

/* USART2 init function */
static void MX_USART2_UART_Init(void)
{

  huart2.Instance = USART2;
  huart2.Init.BaudRate = 115200;
  huart2.Init.WordLength = UART_WORDLENGTH_8B;
  huart2.Init.StopBits = UART_STOPBITS_1;
  huart2.Init.Parity = UART_PARITY_NONE;
  huart2.Init.Mode = UART_MODE_TX_RX;
  huart2.Init.HwFlowCtl = UART_HWCONTROL_NONE;
  huart2.Init.OverSampling = UART_OVERSAMPLING_16;
  huart2.Init.OneBitSampling = UART_ONE_BIT_SAMPLE_DISABLE;
  huart2.AdvancedInit.AdvFeatureInit = UART_ADVFEATURE_NO_INIT;
  if (HAL_UART_Init(&huart2) != HAL_OK)
  {
    _Error_Handler(__FILE__, __LINE__);
  }

}

static void MX_DMA_Init(void)
{
  /* DMA controller clock enable */
  __HAL_RCC_DMA2_CLK_ENABLE();
  __HAL_RCC_DMA1_CLK_ENABLE();

  /* DMA interrupt init */
  /* DMA1_Channel1_IRQn interrupt configuration */
  HAL_NVIC_SetPriority(DMA1_Channel1_IRQn, 0, 0);
  HAL_NVIC_EnableIRQ(DMA1_Channel1_IRQn);
  /* DMA1_Channel4_IRQn interrupt configuration */
  HAL_NVIC_SetPriority(DMA1_Channel4_IRQn, 0, 0);
  HAL_NVIC_EnableIRQ(DMA1_Channel4_IRQn);
  /* DMA1_Channel6_IRQn interrupt configuration */
  HAL_NVIC_SetPriority(DMA1_Channel6_IRQn, 0, 0);
  HAL_NVIC_EnableIRQ(DMA1_Channel6_IRQn);
  /* DMA1_Channel7_IRQn interrupt configuration */
  HAL_NVIC_SetPriority(DMA1_Channel7_IRQn, 0, 0);
  HAL_NVIC_EnableIRQ(DMA1_Channel7_IRQn);
  /* DMA2_Channel7_IRQn interrupt configuration */
  HAL_NVIC_SetPriority(DMA2_Channel7_IRQn, 0, 0);
  HAL_NVIC_EnableIRQ(DMA2_Channel7_IRQn);

}

/** Configure pins as
        * Analog
        * Input
        * Output
        * EVENT_OUT
        * EXTI
*/
static void MX_GPIO_Init(void)
{

  GPIO_InitTypeDef GPIO_InitStruct;

  /* GPIO Ports Clock Enable */
  __HAL_RCC_GPIOC_CLK_ENABLE();
  __HAL_RCC_GPIOH_CLK_ENABLE();
  __HAL_RCC_GPIOA_CLK_ENABLE();
  __HAL_RCC_GPIOB_CLK_ENABLE();
  __HAL_RCC_GPIOD_CLK_ENABLE();

  /*Configure GPIO pin Output Level */
  HAL_GPIO_WritePin(LD2_GPIO_Port, LD2_Pin, GPIO_PIN_RESET);

  /*Configure GPIO pin : B1_Pin */
  GPIO_InitStruct.Pin = B1_Pin;
  GPIO_InitStruct.Mode = GPIO_MODE_IT_FALLING;
  GPIO_InitStruct.Pull = GPIO_NOPULL;
  HAL_GPIO_Init(B1_GPIO_Port, &GPIO_InitStruct);

  /*Configure GPIO pin : LD2_Pin */
  GPIO_InitStruct.Pin = LD2_Pin;
  GPIO_InitStruct.Mode = GPIO_MODE_OUTPUT_PP;
  GPIO_InitStruct.Pull = GPIO_NOPULL;
  GPIO_InitStruct.Speed = GPIO_SPEED_FREQ_LOW;
  HAL_GPIO_Init(LD2_GPIO_Port, &GPIO_InitStruct);

  /*Configure GPIO pin : uSD_detect_Pin */
  GPIO_InitStruct.Pin = uSD_detect_Pin;
  GPIO_InitStruct.Mode = GPIO_MODE_IT_RISING_FALLING;
  GPIO_InitStruct.Pull = GPIO_PULLUP;
  HAL_GPIO_Init(uSD_detect_GPIO_Port, &GPIO_InitStruct);

  /* EXTI interrupt init*/
  HAL_NVIC_SetPriority(EXTI15_10_IRQn, 0, 0);
  HAL_NVIC_EnableIRQ(EXTI15_10_IRQn);

}

/* USER CODE BEGIN 4 */

FRESULT User_SD_Init(void) //HAL_StatusTypeDef
{

		/*##-1- Link the micro SD disk I/O driver ##################################*/
		//res = FATFS_LinkDriver(&SD_Driver, SDPath);
		//if(res != FR_OK) return res;

		/*##-2- Register the file system object to the FatFs module ##############*/
		res = f_mount(&SDFatFS, (TCHAR const*)SDPath, 0);

		return res;
}

FRESULT User_SD_File_Write(char *filename, uint8_t *write_buffer) //HAL_StatusTypeDef
{
//	FRESULT f_open (
//	FIL* fp,			/* Pointer to the blank file object */
//	const TCHAR* path,	/* Pointer to the file name */
//	BYTE mode			/* Access mode and file open mode flags */
//)

	res  = f_open(&SDFile, filename, FA_WRITE | FA_CREATE_ALWAYS);
	errorHandleFRESULT();

	/*##-5- Write data to the text file ################################*/
	res = f_write(&SDFile, write_buffer, (UINT)size((char*)write_buffer), (void *)&byteswritten);
	errorHandleFRESULT();

	/*##-6- Close the open text file #################################*/
	res = f_close(&SDFile);
	errorHandleFRESULT();

	return res;
}

FRESULT User_SD_File_Read(char *filename, uint8_t* read_buffer)
{
	res  = f_open(&SDFile,filename, FA_READ);
		if(res != FR_OK)
				{
					/* 'STM32.TXT' file Open for write Error */
					_Error_Handler(" File Open Error", __LINE__);
				}
		else
		{
				/*##-5- Write data to the text file ################################*/
				res = f_read(&SDFile, read_buffer, sizeof(*read_buffer), (void *)&bytesread);

				if((bytesread == 0) || (res != FR_OK))
				{
					/* 'STM32.TXT' file Write or EOF Error */
					_Error_Handler(" File Read Error", __LINE__);
				}
				else
				{
						/*##-6- Close the open text file #################################*/
						return res ;
						f_close(&SDFile);
				}
			}
		return res;
}

FRESULT open_append (
    FIL* fp,            /* [OUT] File object to create */
    const char* path    /* [IN]  File name to be opened */
)
{
    FRESULT fr;

    /* Opens an existing file. If not exist, creates a new file. */
    fr = f_open(fp, path, FA_WRITE | FA_OPEN_ALWAYS);
    if (fr == FR_OK) {
        /* Seek to end of the file to append data */
        fr = f_lseek(fp, f_size(fp));
        if (fr != FR_OK)
            f_close(fp);
    }
    return fr;
}

FRESULT User_SD_File_Append(char *filename, uint8_t *write_buffer)
{
 	res = open_append(&SDFile, filename);
	if (res != FR_OK) return 1;

	/* Append a line */
	//f_printf(&SDFile, "%02u/%02u/%u, %2u:%02u\n", 10, 12, 456, 22, 55);
	HAL_GPIO_TogglePin(LD2_GPIO_Port, LD2_Pin); //RED LED
	f_puts((char*)write_buffer,&SDFile);
	HAL_GPIO_TogglePin(LD2_GPIO_Port, LD2_Pin); //RED LED

	/* Close the file */
	res = f_close(&SDFile);

	return res;

}

/**
  * @brief  Conversion complete callback in non blocking mode.... DMA comes here too.
  * @param  AdcHandle : ADC handle
  * @note   This example shows a simple way to report end of conversion
  *         and get conversion result. You can add your own implementation.
  * @retval None
  */
void HAL_ADC_ConvCpltCallback(ADC_HandleTypeDef* hadc)
{

	uint8_t len;
	//uhADCxConvertedData = HAL_ADC_GetValue(hadc);

	memset(aTxBuffer, '\0',TXBUFFERSIZE-1);
	len = sprintf((char*)aTxBuffer,"%u %u %u\n",
			aADCxConvertedValues[1],aADCxConvertedValues[2],aADCxConvertedValues[3]);

	/*
	len = sprintf((char*)aTxBuffer,"%u %u %u %u %u %u\n",
			aADCxConvertedValues[1],aADCxConvertedValues[2],aADCxConvertedValues[3],
			aADCxConvertedValues[4],aADCxConvertedValues[5],aADCxConvertedValues[6]);
	*/

	//find last char in file
	res = f_lseek(&SDFile, f_size(&SDFile));
	//errorHandleFRESULT();

	//Write data to the text file
	//f_puts((char*)write_buffer,&SDFile);
	res = f_write(&SDFile, (char*)aTxBuffer, len, (void *)&byteswritten);
	//errorHandleFRESULT();

	HAL_UART_Transmit(&huart2, (uint8_t*)aTxBuffer, len, 200);

	/* do something with the data*/
   // uhVrefInt_mVolt = COMPUTATION_DIGITAL_12BITS_TO_VOLTAGE(aADCxConvertedValues[2]);

    BSP_LED_Toggle(LED2);
}

/**
  * @brief  ADC error callback in non blocking mode
  *        (ADC conversion with interruption or transfer by DMA)
  * @param  hadc: ADC handle
  * @retval None
  */
void HAL_ADC_ErrorCallback(ADC_HandleTypeDef *hadc)
{
	__HAL_ADC_CLEAR_FLAG(hadc, ADC_FLAG_OVR);

  /* In case of ADC error, call main error handler */
	//_Error_Handler("HAL_ADC_ErrorCallback", __LINE__);
}

void HAL_TIM_PeriodElapsedCallback(TIM_HandleTypeDef *htim)
{
    BSP_LED_Toggle(LED2);  /*using nucleo file*/
	//HAL_GPIO_TogglePin(LD2_GPIO_Port, LD2_Pin);
}

//returns the size of a character array using a pointer to the first element of the character array
int size(char *ptr)
{
    //variable used to access the subsequent array elements.
    int offset = 0;
    //variable that counts the number of elements in your array
    int count = 0;

    //While loop that tests whether the end of the array has been reached
    while (*(ptr + offset) != '\0')
    {
        //increment the count variable
        ++count;
        //advance to the next element of the array
        ++offset;
    }
    //return the size of the array
    return count;
}

void do_ADC_conversion(void)
{
	/*
	 * this is playing code only.
	 * Enable sequencer in discontinuous mode, this will perform
	 * the conversion of the next rank in sequencer.
	 * Note: 	For this example, conversion is triggered by software start,
				therefore "HAL_ADC_Start()" must be called for each conversion.
				Since DMA transfer has been initiated previously by function
				"HAL_ADC_Start_DMA()", this function will keep DMA transfer active.
	 */
	if (HAL_ADC_Start(&hadc1) != HAL_OK)
	{
	  Error_Handler();
	}

    /* After each intermediate conversion,
       - EOS remains reset (EOS is set only every third conversion)
       - EOC is set then immediately reset by DMA reading of DR register.
     Therefore, the only reliable flag to check the conversion end is EOSMP
     (end of sampling flag).
     Once EOSMP is set, the end of conversion will be reached when the successive
     approximations are over.
     RM indicates 12.5 ADC clock cycles for the successive approximations
     duration with a 12-bit resolution, or 185.ns at 80 MHz.
     Therefore, it is known that the conversion is over at
     HAL_ADC_PollForConversion() API return */
    if (HAL_ADC_PollForEvent(&hadc1, ADC_EOSMP_EVENT, 10) != HAL_OK)
    {
      Error_Handler();
    }
}

HAL_StatusTypeDef SendData(void)
{
	HAL_StatusTypeDef result = HAL_OK;
	if(huart2.gState == HAL_UART_STATE_READY)
	{
		//at 115200, at 500hz this is about as much as can send between triggers
		memset(aTxBuffer, '\0',TXBUFFERSIZE);
		uint8_t len = sprintf((char*)aTxBuffer,"Other Text %i\n",454);

		//transmit using the HAL
		if (0) {
			result = HAL_UART_Transmit_DMA(&huart2, (uint8_t*)aTxBuffer, len);
		}
		else
		{

			//try just using the registers.... with HAL macros
				__HAL_DMA_DISABLE(&hdma_usart2_tx);
			//Configure the total number of bytes to be transferred to the DMA control register.
				hdma_usart2_tx.Instance->CNDTR = len;
			//4. Configure the channel priority in the DMA register
				//hdma_usart2_tx.Instance->CCR = DMA_PRIORITY_LOW ; ///this is clearing lost of other flag
			//5. Configure DMA interrupt generation after half/ full transfer as required by the application.
				__HAL_DMA_ENABLE_IT(&hdma_usart2_tx, DMA_IT_TC|DMA_IT_HT|DMA_IT_TE);
			//6. Clear the TC flag in the USART_ISR register by setting the TCCF bit in the USART_ICR register.
				__HAL_UART_CLEAR_FLAG(&huart2,UART_CLEAR_TCF);
				/* Clear all flags */
				//hdma_usart2_tx.DmaBaseAddress->IFCR = (DMA_ISR_GIF1 << hdma_usart2_tx.ChannelIndex);
				__HAL_DMA_CLEAR_FLAG(&hdma_usart2_tx, DMA_FLAG_HT7|DMA_FLAG_TE7|DMA_FLAG_GL7);
			//7. Activate the channel in the DMA register.
				// Activate the channel by setting the ENABLE bit in the DMA_CCRx register.
				__HAL_DMA_ENABLE(&hdma_usart2_tx);
				SET_BIT(huart2.Instance->CR3, USART_CR3_DMAT);
		}
	}
	return result;
}

void HAL_TIM_OC_DelayElapsedCallback(TIM_HandleTypeDef *htim)
{
	if(htim->Instance==TIM3 && htim->Channel==HAL_TIM_ACTIVE_CHANNEL_1)
	{
	//For serial testing, send stuff
	//SendData();
	}

	if(htim->Instance==TIM4 && htim->Channel==HAL_TIM_ACTIVE_CHANNEL_4)
	{
	//For serial testing, send stuff
	//SendData();
	}
}

void writeLCDmessage(char* message, uint8_t clear)
{
	if (clear)	LCD_ClearDisplay(&lcd);
	LCD_SetLocation(&lcd, 0, 0);
	LCD_WriteString(&lcd, message);
}

void HAL_GPIO_EXTI_Callback(uint16_t GPIO_Pin)
{
	if(GPIO_Pin == B1_Pin)
	{
		if (PB_counter == 0){
			adcSampling(SAMPLING_ON);
			PB_counter ++;
		} else if(PB_counter == 1){
			adcSampling(SAMPLING_OFF);
			PB_counter = 0;
		}
	}

	if(GPIO_Pin == uSD_detect_Pin)
	{
		uSD_Inserted =! HAL_GPIO_ReadPin(uSD_detect_GPIO_Port, GPIO_Pin);
		//should re-run SD-Init and set ok to use SD
	}

}

void HAL_UART_RxCpltCallback(UART_HandleTypeDef *huart)
{

    if(__HAL_UART_GET_FLAG(huart,UART_FLAG_IDLE))
	{
    	__HAL_UART_CLEAR_IDLEFLAG(huart);

    	//this is a read only field only
    	if(DMA1->ISR &  DMA_ISR_TCIF6)
    		{
    		 //ATTEMPT TO SET TC FLAG
    		}
    	//clear idle flag

    //IDLE flag set
	}
}

void callBack(DMA_HandleTypeDef * hdma)
{
	HAL_GPIO_TogglePin(LD2_GPIO_Port, LD2_Pin);

	//here
}

void HAL_UART_RxHalfCpltCallback(UART_HandleTypeDef *huart)
{
	//stop DMA
	__HAL_DMA_DISABLE(&hdma_usart2_rx);
	HAL_UART_AbortReceive(&huart2);
	//reastart it
	HAL_UART_Receive_DMA(&huart2, (uint8_t *)aRxBuffer, RXBUFFERSIZE);
	//not used
}

void initLCD(void)
{
	lcd.pcf8574.PCF_I2C_ADDRESS = LCD1_I2C_ADDRESS;
	lcd.pcf8574.PCF_I2C_TIMEOUT = 1000;
	lcd.pcf8574.i2c = hi2c1;
	//	lcd.pcf8574.i2c.Instance = I2C1;
		//lcd.pcf8574.i2c.Init.Timing= 400000;
		//this was code from example but ClockSpeed is not there
		//lcd.pcf8574.i2c.Init.ClockSpeed = 400000;
	lcd.NUMBER_OF_LINES = NUMBER_OF_LINES_2;
	lcd.errorCallback = errorHandleLCD;
	lcd.pcf8574.errorCallback = errorHandleI2C;
	//lcd.errorCallback = errorHandleLCD; //added this to see if can handle error
	lcd.type = TYPE0;
	lcd.backLight = 1;

	if(LCD_Init(&lcd)!=LCD_OK){ //LCD_Init set the pins as defined in hd44780.c!
		// error occured
		_Error_Handler(__FILE__, __LINE__);
	}
}

/**
  * @brief  Error Callback from LCD library, set in initLCD
  * @param  None
  * @note   Just goes to standard error handle
  * @retval None
  */
void errorHandleLCD(LCD_RESULT result)
{
	_Error_Handler(__FILE__, __LINE__);
}

/**
  * @brief  Error Callback from LCD library, set in initLCD
  * @param  None
  * @note   Just goes to standard error handle
  * @retval None
  */
void errorHandleI2C(PCF8574_RESULT result)
{
	_Error_Handler(__FILE__, __LINE__);
}

/**
  * @brief  Retargets the C library printf function to the USART.
  * @param  None
  * @retval None
  */

int fputc(int ch, FILE *f)
{
  /* Place your implementation of fputc here */
  /* e.g. write a character to the EVAL_COM1 and Loop until the end of transmission */
 // HAL_UART_Transmit(&huart2, (uint8_t *)&ch, 1, 0xFFFF);

  return ch;
}

//write some stuff to the LCD
void writeTestLCD(void)
{
	LCD_SetLocation(&lcd, 0, 0);
	LCD_WriteString(&lcd, "pi:");
	LCD_SetLocation(&lcd, 0, 1);
	LCD_WriteString(&lcd, "e:");
	LCD_SetLocation(&lcd, 6, 0);
	LCD_WriteFloat(&lcd,3.1415926,7);
	LCD_SetLocation(&lcd, 6, 1);
	LCD_WriteFloat(&lcd,2.71,2);
}

void adcSampling(SAMPLING_STATE sampling)
{

	if(sampling)
	{
		res  = f_open(&SDFile, "data.txt" , FA_WRITE);
		res = f_lseek(&SDFile, f_size(&SDFile));
		uint16_t len =0;
		len = sprintf((char*)aTxBuffer,"%s","Start of Sample\n");

		res = f_write(&SDFile, (char*)aTxBuffer, len, (void *)&byteswritten);
		errorHandleFRESULT();
		/* Start ADC conversion on regular group with transfer by DMA */
		if (HAL_ADC_Start_DMA(&hadc1,
							(uint32_t *)aADCxConvertedValues,
							ADCCONVERTEDVALUES_BUFFER_SIZE
						   ) != HAL_OK)
		_Error_Handler("ADC conversion start error", __LINE__);
		writeLCDmessage("SAMPLING", LCD_CLEAR_DISPLAY);
	}
	else
	{
		/*##-6- Close the open text file #################################*/
		res = f_close(&SDFile);
		errorHandleFRESULT();

		HAL_ADC_Stop_DMA(&hadc1);
		writeLCDmessage("NOT_SAMPLING", LCD_CLEAR_DISPLAY);
	}
}

void AlternateAdcStart(void)
{
    /* Start ADC conversion */
    /* Since sequencer is enabled in discontinuous mode, this will perform    */
    /* the conversion of the next rank in sequencer.                          */
    /* Note: For this example, conversion is triggered by software start,     */
    /*       therefore "HAL_ADC_Start()" must be called for each conversion.  */
    /*       Since DMA transfer has been initiated previously by function     */
    /*       "HAL_ADC_Start_DMA()", this function will keep DMA transfer      */
    /*       active.                                                          */
    if (HAL_ADC_Start(&hadc1) != HAL_OK)
    {
      Error_Handler();
    }

    /* After each intermediate conversion,
       - EOS remains reset (EOS is set only every third conversion)
       - EOC is set then immediately reset by DMA reading of DR register.
     Therefore, the only reliable flag to check the conversion end is EOSMP
     (end of sampling flag).
     Once EOSMP is set, the end of conversion will be reached when the successive
     approximations are over.
     RM indicates 12.5 ADC clock cycles for the successive approximations
     duration with a 12-bit resolution, or 185.ns at 80 MHz.
     Therefore, it is known that the conversion is over at
     HAL_ADC_PollForConversion() API return */
    if (HAL_ADC_PollForEvent(&hadc1, ADC_EOSMP_EVENT, 10) != HAL_OK)
    {
      Error_Handler();
    }

}

void errorHandleFRESULT(void)
{
	switch (res) {
		case FR_OK:
			break;
		case FR_DISK_ERR:
			while(1);
			break;
		case FR_NOT_READY:
			while(1);
			break;
		default:
			break;
	}
	return;

		//FR_OK = 0,				/* (0) Succeeded */
		//FR_DISK_ERR,			/* (1) A hard error occurred in the low level disk I/O layer */
		//FR_INT_ERR,				/* (2) Assertion failed */
		//FR_NOT_READY,			/* (3) The physical drive cannot work */
		//FR_NO_FILE,				/* (4) Could not find the file */
		//FR_NO_PATH,				/* (5) Could not find the path */
		//FR_INVALID_NAME,		/* (6) The path name format is invalid */
		//FR_DENIED,				/* (7) Access denied due to prohibited access or directory full */
		//FR_EXIST,				/* (8) Access denied due to prohibited access */
		//FR_INVALID_OBJECT,		/* (9) The file/directory object is invalid */
		//FR_WRITE_PROTECTED,		/* (10) The physical drive is write protected */
		//FR_INVALID_DRIVE,		/* (11) The logical drive number is invalid */
		//FR_NOT_ENABLED,			/* (12) The volume has no work area */
		//FR_NO_FILESYSTEM,		/* (13) There is no valid FAT volume */
		//FR_MKFS_ABORTED,		/* (14) The f_mkfs() aborted due to any problem */
		//FR_TIMEOUT,				/* (15) Could not get a grant to access the volume within defined period */
		//FR_LOCKED,				/* (16) The operation is rejected according to the file sharing policy */
		//FR_NOT_ENOUGH_CORE,		/* (17) LFN working buffer could not be allocated */
		//FR_TOO_MANY_OPEN_FILES,	/* (18) Number of open files > _FS_LOCK */
		//FR_INVALID_PARAMETER	/* (19) Given parameter is invalid */
}
/* USER CODE END 4 */

void _Error_Handler(char * file, int line)
{
  while(1)
  {
  }
}

/************************ (C) COPYRIGHT STMicroelectronics *****END OF FILE****/
